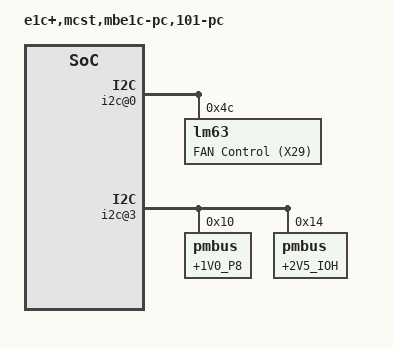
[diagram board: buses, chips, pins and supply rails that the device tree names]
/*
 * MBE1C-PC
 * TVGI.469555.331
 * (101-PC)
 */
/dts-v1/;

/*#include <dt-bindings/input/input.h>*/

/ {
	/* version = ""; */
	model = "e1c+,mcst,mbe1c-pc,101-pc";
	compatible = "mcst,mbe1c-pc";
	#address-cells = <1>;
	#size-cells = <0>;

	/* IOHUB2 I2C */
	l_i2c@0 {
		#address-cells = <1>;
		#size-cells = <0>;
		reg = <0>;
		compatible = "l_i2c";
		label = "iohub2 i2c";

		i2c@0 {
			#address-cells = <1>;
			#size-cells = <0>;
			reg = <0>;

			lm96163@4c {
				/* hwmon/lm63.ko (DD9:LM96163CISD) */
				compatible = "lm63";
				reg = <0x4c>;
				label = "FAN Control (X29)";

				temp1_label = "Internal Temp";
				temp2_label = "IOHUB Temp";
			};

			/* (X32, X33) DIMMs: 0x18 0x1A */
		};
		i2c@1 {
			#address-cells = <1>;
			#size-cells = <0>;
			reg = <1>;

			/* empty */
		};
		i2c@2 {
			#address-cells = <1>;
			#size-cells = <0>;
			reg = <2>;

			/* empty */
		};
		i2c@3 {
			#address-cells = <1>;
			#size-cells = <0>;
			reg = <3>;

			/* config SENSORS_PMBUS */
			pdt012@10 {
				/* hwmon/pmbus/pmbus.ko (DA3:PDT012A0X3) */
				compatible = "pmbus";
				reg = <0x10>;
				label = "+1V0_P8";
			};
			pdt012@14 {
				/* hwmon/pmbus/pmbus.ko (DA4:PDT012A0X3) */
				compatible = "pmbus";
				reg = <0x14>;
				label = "+2V5_IOH";
			};
		};
	};

	/* PMBUS I2C */
	pmc_i2c {
		#address-cells = <1>;
		#size-cells = <0>;
		compatible = "pmc_i2c";
		label = "pmbus i2c";

		/* config SENSORS_PMBUS */
		udt020@10 {
			/* hwmon/pmbus/pmbus.ko (DA6:UDT020A0X3-SRZ) */
			compatible = "pmbus";
			reg = <0x10>;
			label = "+0V9_CPU";
		};
		udt020@13 {
			/* hwmon/pmbus/pmbus.ko (DA7:UDT020A0X3-SRZ) */
			compatible = "pmbus";
			reg = <0x13>;
			label = "+PWR_MC";
		};
		pdt012@14 {
			/* hwmon/pmbus/pmbus.ko (DA5:PDT012A0X3) */
			compatible = "pmbus";
			reg = <0x14>;
			label = "+1V8_CPU";
		};
	};

	/* IOHUB2 SPI */
	l_spi@0 {
		#address-cells = <1>;
		#size-cells = <0>;
		compatible = "l_spi";
		reg = <0>;
		label = "iohub2 spi";

		boot@0 {
			compatible = "mcst,boot";
			reg = <0>;
			spi-max-frequency = <25000000>;
		};
		rtc-cy14b101p@1 {
			compatible = "rtc-cy14b101p";
			reg = <1>;
			spi-max-frequency = <12500000>;
		};
	};
};
